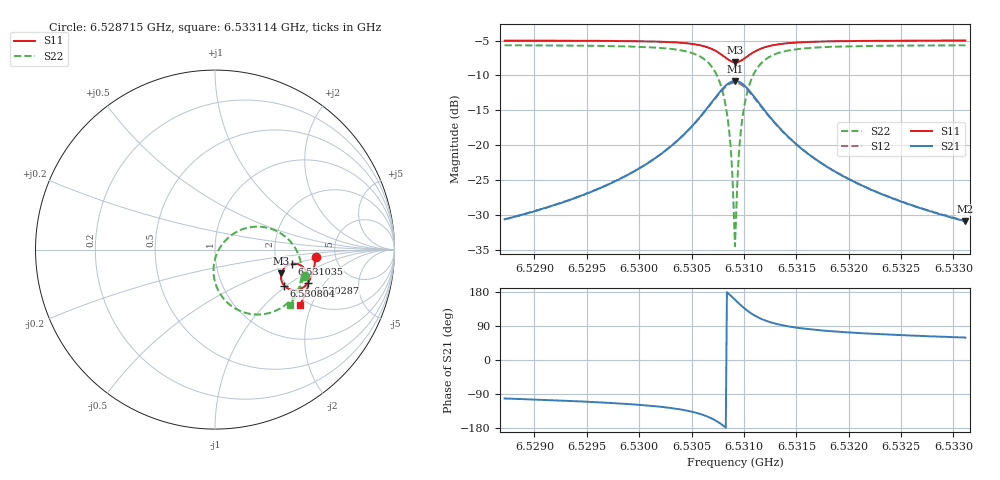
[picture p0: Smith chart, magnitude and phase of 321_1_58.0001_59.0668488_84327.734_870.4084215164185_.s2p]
#  HZ  S  RI  R  50.00
! Rohde & Schwarz Vector Network Analyzer
! Rohde-Schwarz,ZNB20-2Port,1311601062101988,3.16
! Created: UTC 3/21/2024, 1:04:42 AM
! freq[Hz]  re:S11  im:S11  re:S21  im:S21  re:S12  im:S12  re:S22  im:S22
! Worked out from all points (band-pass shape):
!   401 points, 6.528715 GHz to 6.533114 GHz, reference 50 ohm
!   highest |S21| = -10.79 dB at 6.530914 GHz (marker M1); lowest = -30.9 dB at 6.533114 GHz (marker M2)
!   |S21| within 3 dB of the highest: 6.530694 GHz to 6.531135 GHz (440.7 kHz wide, 0.00675 % of centre)
!   lowest |S11| = -8.1 dB at 6.530914 GHz (marker M3), VSWR 2.29, Z = 102 - j31.7 ohm
!   |S11| at or under -10 dB: nowhere
!   |S22| runs from -34.5 to -5.7 dB; largest |S21 - S12| = 0.011
!   S11 on the Smith chart (normalised r, x): 6.528715 GHz: 3.50, -0.43; 6.530287 GHz: 2.61, -1.39; 6.530804 GHz: 1.94, -0.96; 6.531035 GHz: 2.43, -0.48; 6.533114 GHz: 1.83, -1.65
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6.5287147e9  0.5601 -0.0424  -0.00583 -0.0288  -0.00637 -0.0287  0.4992 -0.1466
6.5294515e9  0.5511 -0.103  -0.0145 -0.0411  -0.0155 -0.0408  0.4706 -0.2136
6.5301884e9  0.5248 -0.1741  -0.0458 -0.0706  -0.0478 -0.0695  0.3944 -0.3065
6.5302873e9  0.5169 -0.1858  -0.0567 -0.0776  -0.059 -0.0761  0.3713 -0.3228
6.5306392e9  0.4541 -0.2253  -0.153 -0.0959  -0.1553 -0.0899  0.1885 -0.3569
6.5307382e9  0.4151 -0.2209  -0.2135 -0.0725  -0.2131 -0.0639  0.0852 -0.3094
6.5308042e9  0.3861 -0.2012  -0.2566 -0.0283  -0.2525 -0.019  0.0183 -0.2281
6.5308592e9  0.3696 -0.17  -0.278 0.0318  -0.2704 0.0395  -0.00833 -0.1245
6.5308702e9  0.3679 -0.1626  -0.279 0.0458  -0.2708 0.0528  -0.00791 -0.1011
6.5308922e9  0.3674 -0.1469  -0.2773 0.0746  -0.268 0.08  -0.000307 -0.0541
6.5309032e9  0.3682 -0.139  -0.2743 0.0889  -0.2647 0.0935  0.00713 -0.0308
6.5309142e9  0.3701 -0.1311  -0.2697 0.1029  -0.2598 0.1067  0.0167 -0.00867
6.5309252e9  0.3728 -0.1236  -0.2639 0.1165  -0.254 0.1194  0.0286 0.0128
6.5309362e9  0.3762 -0.1165  -0.2567 0.1293  -0.2469 0.1312  0.0423 0.0326
6.5309582e9  0.3851 -0.1037  -0.239 0.1523  -0.2298 0.1525  0.0751 0.0673
6.5309802e9  0.3962 -0.0932  -0.218 0.1707  -0.2097 0.1696  0.1123 0.0941
6.5310351e9  0.4278 -0.0794  -0.1611 0.1957  -0.1553 0.1931  0.2109 0.1266
6.5311121e9  0.4663 -0.0828  -0.0934 0.194  -0.0902 0.1913  0.3251 0.1114
6.5312221e9  0.499 -0.1053  -0.036 0.1644  -0.0345 0.1629  0.418 0.0474
6.531651e9  0.5208 -0.1811  0.0139 0.0813  0.0147 0.081  0.4827 -0.1287
6.5323878e9  0.5008 -0.2536  0.0166 0.039  0.0172 0.0388  0.4554 -0.2441
6.5331136e9  0.4729 -0.3069  0.0146 0.0243  0.0151 0.0243  0.4204 -0.3062
